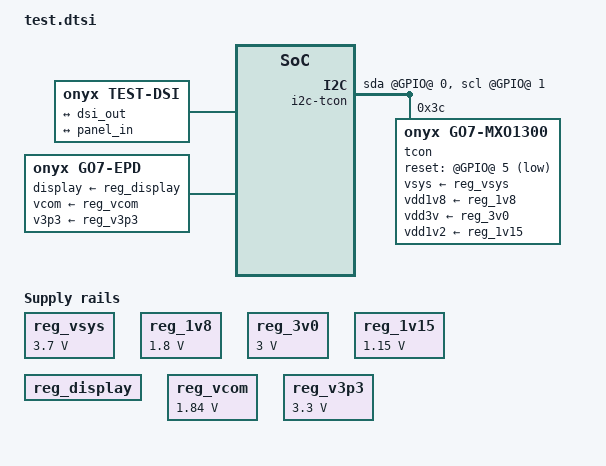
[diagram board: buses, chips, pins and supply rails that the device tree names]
/ {
	reg_vsys: regulator-vsys {
		compatible = "regulator-fixed";
		regulator-name = "vsys";
		regulator-min-microvolt = <3700000>;
		regulator-max-microvolt = <3700000>;
	};
	reg_1v8: regulator-1v8 {
		compatible = "regulator-fixed";
		regulator-name = "vdd1v8";
		regulator-min-microvolt = <1800000>;
		regulator-max-microvolt = <1800000>;
	};
	reg_3v0: regulator-3v0 {
		compatible = "regulator-fixed";
		regulator-name = "vdd3v";
		regulator-min-microvolt = <3000000>;
		regulator-max-microvolt = <3000000>;
	};
	reg_1v15: regulator-1v15 {
		compatible = "regulator-fixed";
		regulator-name = "vdd1v2";
		regulator-min-microvolt = <1150000>;
		regulator-max-microvolt = <1150000>;
	};
	reg_display: regulator-display {
		compatible = "regulator-fixed";
		regulator-name = "display";
	};
	reg_vcom: regulator-vcom {
		compatible = "regulator-fixed";
		regulator-name = "vcom";
		regulator-min-microvolt = <1840000>;
		regulator-max-microvolt = <1840000>;
	};
	reg_v3p3: regulator-v3p3 {
		compatible = "regulator-fixed";
		regulator-name = "v3p3";
		regulator-min-microvolt = <3300000>;
		regulator-max-microvolt = <3300000>;
	};

	i2c-tcon {
		compatible = "i2c-gpio";
		sda-gpios = <&{@GPIO@} 0 6>;
		scl-gpios = <&{@GPIO@} 1 6>;
		i2c-gpio,scl-output-only;
		i2c-gpio,delay-us = <1>;
		#address-cells = <1>;
		#size-cells = <0>;

		tcon: tcon@3c {
			compatible = "onyx,go7-mxo1300";
			reg = <0x3c>;
			vsys-supply = <&reg_vsys>;
			vdd1v8-supply = <&reg_1v8>;
			vdd3v-supply = <&reg_3v0>;
			vdd1v2-supply = <&reg_1v15>;
			reset-gpios = <&{@GPIO@} 5 1>;
		};
	};

	dsi: dsi {
		compatible = "onyx,test-dsi";
		#address-cells = <1>;
		#size-cells = <0>;

		panel@0 {
			compatible = "onyx,go7-eink-dsi";
			reg = <0>;
			reset-gpios = <&{@GPIO@} 6 1>;

			port {
				panel_in: endpoint {
					remote-endpoint = <&dsi_out>;
				};
			};
		};

		ports {
			#address-cells = <1>;
			#size-cells = <0>;

			port@1 {
				reg = <1>;
				dsi_out: endpoint {
					remote-endpoint = <&panel_in>;
				};
			};
		};
	};

	epd {
		compatible = "onyx,go7-epd";
		onyx,dsi = <&dsi>;
		onyx,tcon = <&tcon>;
		display-supply = <&reg_display>;
		vcom-supply = <&reg_vcom>;
		v3p3-supply = <&reg_v3p3>;
	};
};
